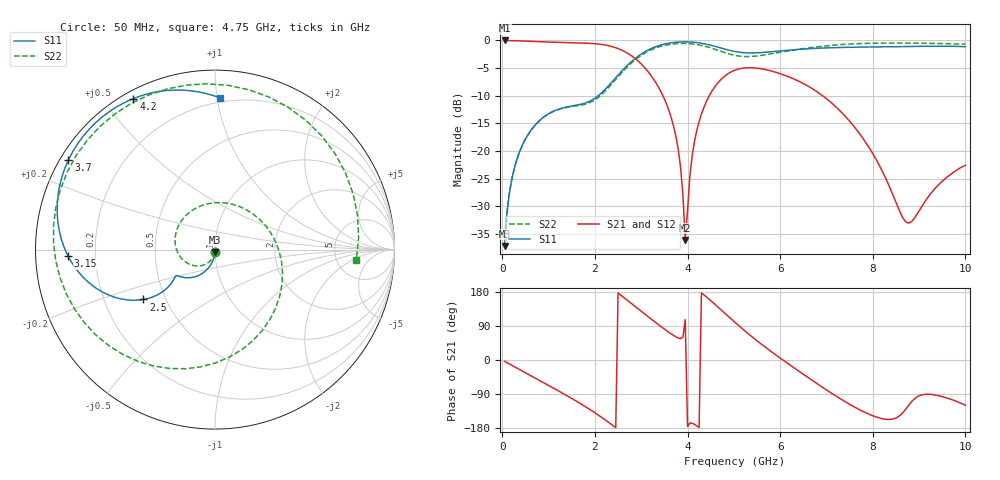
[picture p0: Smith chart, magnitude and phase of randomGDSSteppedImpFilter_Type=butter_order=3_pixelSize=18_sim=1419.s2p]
! freq	dB(S11)	phase(S11)	dB(S12)	phase(S12)
!  dB(S21)	phase(S21)	dB(S22)	phase(S22)
!S-par simulation data
#  GHz  S  DB  R 50
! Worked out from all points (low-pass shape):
!   200 points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, 50 MHz to 10 GHz, reference 50 ohm
!   highest |S21| = -0.01 dB at 50 MHz (marker M1); lowest = -36.1 dB at 3.95 GHz (marker M2)
!   |S21| within 3 dB of the highest: start of sweep to 2.827 GHz
!   lowest |S11| = -37.1 dB at 50 MHz (marker M3), VSWR 1.03, Z = 49.9 - j1.39 ohm
!   |S11| at or under -10 dB: start of sweep to 2.072 GHz
!   |S22| runs from -37.2 to -0.5 dB; largest |S21 - S12| = 0
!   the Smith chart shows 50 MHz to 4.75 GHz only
!   S11 on the Smith chart (normalised r, x): 50 MHz: 1.00, -0.03; 2.5 GHz: 0.38, -0.27; 3.15 GHz: 0.10, -0.02; 3.7 GHz: 0.02, +0.28; 4.2 GHz: 0.03, +0.60; 4.75 GHz: 0.17, +1.02
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0.05  -37.15 -91.6  -0.01 -3.4  -0.01 -3.4  -37.18 -93.8
0.2  -25.30 -99.6  -0.04 -13.6  -0.04 -13.6  -25.32 -107.7
0.5  -17.81 -113.7  -0.12 -33.7  -0.12 -33.7  -17.85 -134.7
1.15  -12.63 -138.5  -0.34 -77.3  -0.34 -77.3  -12.69 162.8
1.75  -11.42 -145.7  -0.48 -119.8  -0.48 -119.8  -11.60 85.2
2.5  -6.27 -145.1  -1.47 176.8  -1.47 176.8  -6.57 -43.9
3.15  -1.73 -177.5  -5.67 114.1  -5.67 114.1  -1.97 -137.8
3.4  -0.89 167.1  -8.86 90.7  -8.86 90.7  -1.13 -169.9
3.7  -0.38 148.6  -15.54 64.7  -15.54 64.7  -0.63 152.4
3.85  -0.28 139.4  -22.92 56.4  -22.92 56.4  -0.55 133.2
3.95  -0.26 133.3  -36.05 106.5  -36.05 106.5  -0.55 120.0
4.2  -0.39 118.3  -16.28 -173.7  -16.28 -173.7  -0.74 85.4
4.75  -1.44 88.2  -6.83 129.5  -6.83 129.5  -2.05 -4.2
5.05  -2.05 74.7  -5.30 96.6  -5.30 96.6  -2.75 -58.2
5.35  -2.26 61.2  -4.93 65.4  -4.93 65.4  -2.90 -108.7
5.8  -2.05 36.1  -5.50 22.9  -5.50 22.9  -2.43 -170.1
6.7  -1.46 -36.4  -8.75 -54.4  -8.75 -54.4  -1.26 104.4
7.4  -1.26 -104.7  -13.66 -109.8  -13.66 -109.8  -0.71 54.4
8.35  -1.14 170.0  -26.23 -156.8  -26.23 -156.8  -0.48 0.3
8.75  -1.10 139.1  -32.98 -123.5  -32.98 -123.5  -0.48 -18.6
9.2  -1.06 106.7  -28.25 -90.3  -28.25 -90.3  -0.53 -37.8
10  -1.13 49.9  -22.56 -119.3  -22.56 -119.3  -0.69 -68.0
